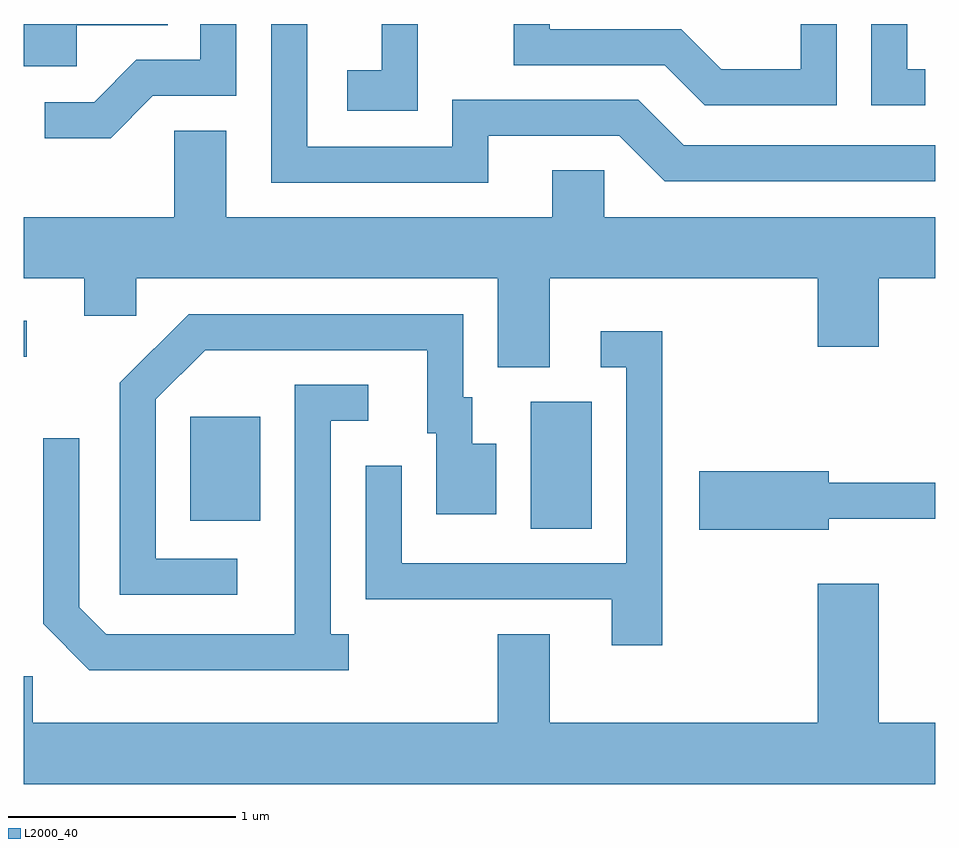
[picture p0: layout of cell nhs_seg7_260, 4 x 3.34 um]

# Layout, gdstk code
import gdstk
lib = gdstk.Library(unit=1e-6, precision=1e-09)
def R(c, l, rs):  # rectangles x0, y0, x1, y1
    for r in rs: c.add(gdstk.rectangle(r[:2], r[2:], *l))
def P(c, l, *ps):  # polygons
    for p in ps: c.add(gdstk.Polygon(p, *l))
L2000_40 = (2000, 40)

nhs_seg7_260 = lib.new_cell('nhs_seg7_260')
R(nhs_seg7_260, L2000_40, [(193.836,1782.036,194.104,1782.594), (192.341,1782.071,192.649,1782.529), (191.611,1782.791,191.623,1782.949)])
P(nhs_seg7_260, L2000_40, [(193.339,1784.252),(193.181,1784.252),(193.181,1784.049),(193.031,1784.049),(193.031,1783.871),(193.339,1783.871)],
  [(191.844,1784.246),(192.243,1784.246),(192.243,1784.252),(191.611,1784.252),(191.611,1784.066),(191.844,1784.066)],
  [(193.649,1783.761),(194.224,1783.761),(194.424,1783.561),(195.611,1783.561),(195.611,1783.719),(194.507,1783.719),(194.307,1783.919),(193.491,1783.919),(193.491,1783.714),(192.854,1783.714),(192.854,1784.252),(192.696,1784.252),(192.696,1783.556),(193.649,1783.556)],
  [(195.568,1784.054),(195.489,1784.054),(195.489,1784.252),(195.331,1784.252),(195.331,1783.896),(195.568,1783.896)],
  [(195.179,1784.252),(195.021,1784.252),(195.021,1784.054),(194.672,1784.054),(194.497,1784.229),(193.919,1784.229),(193.919,1784.252),(193.761,1784.252),(193.761,1784.071),(194.424,1784.071),(194.599,1783.896),(195.179,1783.896)],
  [(192.177,1783.936),(192.544,1783.936),(192.544,1784.252),(192.386,1784.252),(192.386,1784.094),(192.104,1784.094),(191.919,1783.909),(191.703,1783.909),(191.703,1783.751),(191.992,1783.751)],
  [(193.919,1783.136),(195.096,1783.136),(195.096,1782.836),(195.364,1782.836),(195.364,1783.136),(195.611,1783.136),(195.611,1783.404),(194.159,1783.404),(194.159,1783.609),(193.931,1783.609),(193.931,1783.404),(192.499,1783.404),(192.499,1783.784),(192.271,1783.784),(192.271,1783.404),(191.611,1783.404),(191.611,1783.136),(191.876,1783.136),(191.876,1782.971),(192.104,1782.971),(192.104,1783.136),(193.691,1783.136),(193.691,1782.746),(193.919,1782.746)],
  [(192.548,1781.904),(192.189,1781.904),(192.189,1782.604),(192.407,1782.821),(193.381,1782.821),(193.381,1782.456),(193.421,1782.456),(193.421,1782.101),(193.684,1782.101),(193.684,1782.409),(193.579,1782.409),(193.579,1782.614),(193.539,1782.614),(193.539,1782.979),(192.334,1782.979),(192.031,1782.677),(192.031,1781.746),(192.548,1781.746)],
  [(194.414,1782.904),(194.143,1782.904),(194.143,1782.746),(194.256,1782.746),(194.256,1781.884),(193.269,1781.884),(193.269,1782.313),(193.111,1782.313),(193.111,1781.726),(194.191,1781.726),(194.191,1781.526),(194.414,1781.526)],
  [(193.038,1781.574),(192.959,1781.574),(192.959,1782.511),(193.123,1782.511),(193.123,1782.669),(192.801,1782.669),(192.801,1781.574),(191.972,1781.574),(191.854,1781.692),(191.854,1782.433),(191.696,1782.433),(191.696,1781.619),(191.899,1781.416),(193.038,1781.416)],
  [(195.144,1782.081),(195.611,1782.081),(195.611,1782.239),(195.144,1782.239),(195.144,1782.289),(194.576,1782.289),(194.576,1782.031),(195.144,1782.031)],
  [(195.611,1781.184),(195.364,1781.184),(195.364,1781.794),(195.096,1781.794),(195.096,1781.184),(193.919,1781.184),(193.919,1781.574),(193.691,1781.574),(193.691,1781.184),(191.649,1781.184),(191.649,1781.389),(191.611,1781.389),(191.611,1780.916),(195.611,1780.916)])

lib.write_gds('nhs_seg7_260.gds')
